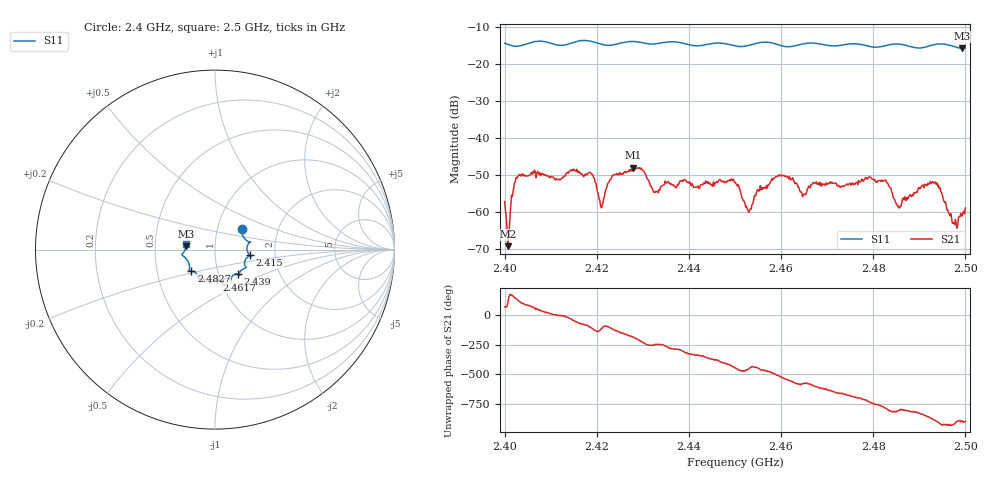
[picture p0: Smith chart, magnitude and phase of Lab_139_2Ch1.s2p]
# Hz S RI R 50
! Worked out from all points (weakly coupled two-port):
!   601 points, 2.4 GHz to 2.5 GHz, reference 50 ohm
!   highest |S21| = -48.09 dB at 2.4278 GHz (marker M1); lowest = -69.3 dB at 2.4007 GHz (marker M2)
!   lowest |S11| = -15.7 dB at 2.4993 GHz (marker M3), VSWR 1.39, Z = 36 + j1.43 ohm
!   |S11| at or under -10 dB: start of sweep to end of sweep
!   S12 and S22 are empty: the file has one direction only
!   S11 on the Smith chart (normalised r, x): 2.4 GHz: 1.31, +0.31; 2.415 GHz: 1.47, -0.10; 2.439 GHz: 1.24, -0.35; 2.4617 GHz: 0.96, -0.34; 2.4827 GHz: 0.75, -0.18; 2.5 GHz: 0.72, +0.05
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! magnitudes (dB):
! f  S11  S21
! 2.4 GHz  -14.4  -57.3
! 2.4007 GHz  -14.7  -69.3
! 2.403 GHz  -15.2  -50.3
! 2.415 GHz  -14.2  -48.5
! 2.4167 GHz  -13.7  -49.9
! 2.419 GHz  -14.0  -49.8
! 2.421 GHz  -14.7  -58.9
! 2.4233 GHz  -14.9  -50.2
! 2.4278 GHz  -13.9  -48.1
! 2.4333 GHz  -14.5  -54.9
! 2.439 GHz  -14.5  -51.3
! 2.45 GHz  -15.1  -52.0
! 2.453 GHz  -15.0  -60.2
! 2.4617 GHz  -15.4  -51.1
! 2.4667 GHz  -14.4  -52.6
! 2.4827 GHz  -15.1  -51.4
! 2.4833 GHz  -14.9  -52.9
! 2.4855 GHz  -14.6  -58.5
! 2.4933 GHz  -14.7  -52.1
! 2.4977 GHz  -15.4  -63.5
! 2.4993 GHz  -15.7  -61.1
! 2.5 GHz  -15.7  -59.0
